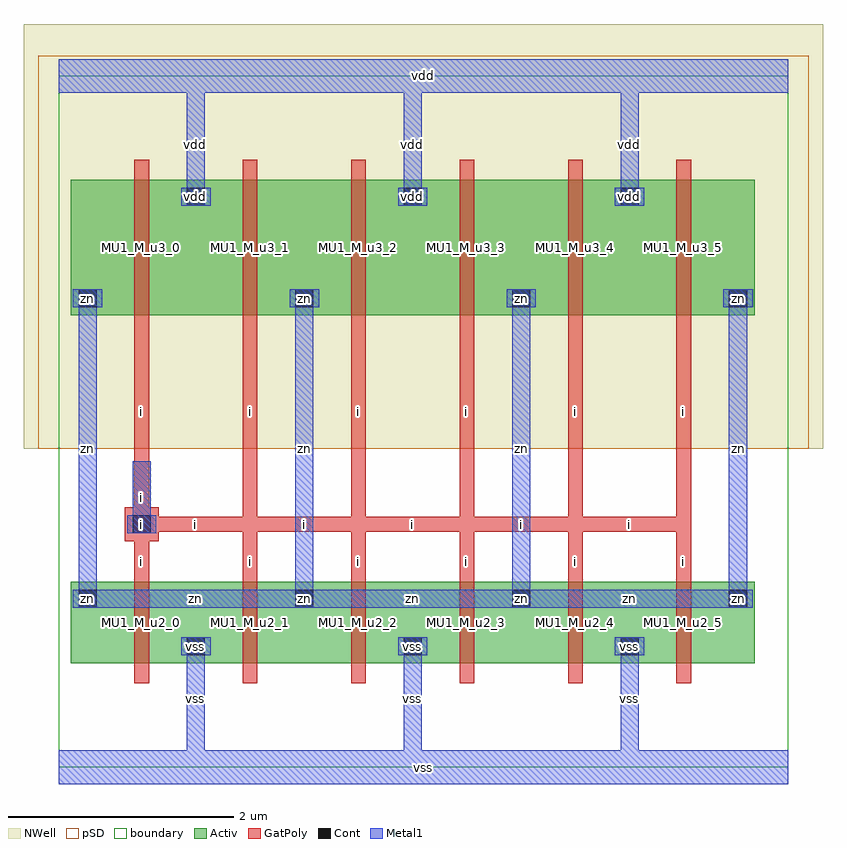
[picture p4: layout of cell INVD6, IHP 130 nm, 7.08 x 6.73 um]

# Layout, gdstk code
import gdstk
lib = gdstk.Library(unit=1e-6, precision=1e-09)
def R(c, l, rs):  # rectangles x0, y0, x1, y1
    for r in rs: c.add(gdstk.rectangle(r[:2], r[2:], *l))
def A(c, l, x, y, w, h, nx, ny, dx, dy):  # array of equal rectangles
    R(c, l, [(x+i*dx, y+j*dy, x+i*dx+w, y+j*dy+h) for i in range(nx) for j in range(ny)])
Activ = (1, 0)
GatPoly = (5, 0)
Cont = (6, 0)
Metal1 = (8, 0)
pSD = (14, 0)
NWell = (31, 0)
TEXT = (63, 0)
boundary = (189, 4)

invd6 = lib.new_cell('INVD6')
A(invd6, Activ, 0.105, 0.92, 1.26, 0.72, 6, 1, 0.96, 0)
A(invd6, Activ, 1.065, 0.92, 0.3, 0.3, 3, 2, 1.92, 3.98)
A(invd6, Activ, 0.105, 1.34, 0.3, 0.3, 4, 2, 1.92, 2.66)
A(invd6, Activ, 0.105, 4, 1.26, 1.2, 6, 1, 0.96, 0)
A(invd6, GatPoly, 0.67, 0.74, 0.13, 1.08, 6, 1, 0.96, 0)
A(invd6, GatPoly, 0.67, 1.425, 0.13, 0.79, 6, 1, 0.96, 0)
A(invd6, GatPoly, 0.67, 2.085, 1.09, 0.13, 5, 1, 0.96, 0)
A(invd6, GatPoly, 0.67, 2.085, 0.13, 2.13, 6, 1, 0.96, 0)
A(invd6, GatPoly, 0.67, 3.82, 0.13, 1.56, 6, 1, 0.96, 0)
R(invd6, GatPoly, [(0.585,2,0.885,2.3)])
A(invd6, Cont, 1.135, 0.99, 0.16, 0.16, 3, 2, 1.92, 3.98)
A(invd6, Cont, 0.175, 1.41, 0.16, 0.16, 4, 2, 1.92, 2.66)
R(invd6, Cont, [(0.655,2.07,0.815,2.23)])
A(invd6, Metal1, 1.135, 0.07, 0.16, 1.08, 3, 2, 1.92, 4.9)
A(invd6, Metal1, 1.085, 0.99, 0.26, 0.16, 3, 2, 1.92, 3.98)
A(invd6, Metal1, 0.125, 1.41, 0.26, 0.16, 4, 2, 1.92, 2.66)
A(invd6, Metal1, 0.175, 1.41, 2.08, 0.16, 3, 1, 1.92, 0)
A(invd6, Metal1, 0.175, 1.41, 0.16, 2.82, 4, 1, 1.92, 0)
R(invd6, Metal1, [(0,-0.15,6.46,0.15), (0.605,2.07,0.865,2.23), (0.655,2.07,0.815,2.71), (0,5.97,6.46,6.27)])
R(invd6, pSD, [(-0.18,2.82,6.64,5.94), (-0.18,5.94,6.64,6.3)])
R(invd6, NWell, [(-0.31,2.82,6.77,6.58)])
R(invd6, boundary, [(0,0,6.46,6.12)])
invd6.add(gdstk.FlexPath([(0.105,0.41),(6.165,0.41)], 0, ends="flush", simple_path=True, layer=63, datatype=0))  # TEXT
invd6.add(gdstk.FlexPath([(0.105,1.07),(6.165,1.07)], 0, ends="flush", simple_path=True, layer=63, datatype=0))  # TEXT
invd6.add(gdstk.FlexPath([(0.105,1.49),(6.165,1.49)], 0, ends="flush", simple_path=True, layer=63, datatype=0))  # TEXT
invd6.add(gdstk.FlexPath([(0.105,2.15),(6.165,2.15)], 0, ends="flush", simple_path=True, layer=63, datatype=0))  # TEXT
invd6.add(gdstk.FlexPath([(0.105,2.63),(6.165,2.63)], 0, ends="flush", simple_path=True, layer=63, datatype=0))  # TEXT
invd6.add(gdstk.FlexPath([(0.105,3.11),(6.165,3.11)], 0, ends="flush", simple_path=True, layer=63, datatype=0))  # TEXT
invd6.add(gdstk.FlexPath([(0.105,4.15),(6.165,4.15)], 0, ends="flush", simple_path=True, layer=63, datatype=0))  # TEXT
invd6.add(gdstk.FlexPath([(0.105,4.71),(6.165,4.71)], 0, ends="flush", simple_path=True, layer=63, datatype=0))  # TEXT
invd6.add(gdstk.FlexPath([(0.105,5.05),(6.165,5.05)], 0, ends="flush", simple_path=True, layer=63, datatype=0))  # TEXT
invd6.add(gdstk.FlexPath([(0.105,5.71),(6.165,5.71)], 0, ends="flush", simple_path=True, layer=63, datatype=0))  # TEXT
invd6.add(gdstk.FlexPath([(0.255,0.07),(0.255,6.05)], 0, ends="flush", simple_path=True, layer=63, datatype=0))  # TEXT
invd6.add(gdstk.FlexPath([(0.735,0.07),(0.735,6.05)], 0, ends="flush", simple_path=True, layer=63, datatype=0))  # TEXT
invd6.add(gdstk.FlexPath([(1.215,0.07),(1.215,6.05)], 0, ends="flush", simple_path=True, layer=63, datatype=0))  # TEXT
invd6.add(gdstk.FlexPath([(1.695,0.07),(1.695,6.05)], 0, ends="flush", simple_path=True, layer=63, datatype=0))  # TEXT
invd6.add(gdstk.FlexPath([(2.175,0.07),(2.175,6.05)], 0, ends="flush", simple_path=True, layer=63, datatype=0))  # TEXT
invd6.add(gdstk.FlexPath([(2.655,0.07),(2.655,6.05)], 0, ends="flush", simple_path=True, layer=63, datatype=0))  # TEXT
invd6.add(gdstk.FlexPath([(3.135,0.07),(3.135,6.05)], 0, ends="flush", simple_path=True, layer=63, datatype=0))  # TEXT
invd6.add(gdstk.FlexPath([(3.615,0.07),(3.615,6.05)], 0, ends="flush", simple_path=True, layer=63, datatype=0))  # TEXT
invd6.add(gdstk.FlexPath([(4.095,0.07),(4.095,6.05)], 0, ends="flush", simple_path=True, layer=63, datatype=0))  # TEXT
invd6.add(gdstk.FlexPath([(4.575,0.07),(4.575,6.05)], 0, ends="flush", simple_path=True, layer=63, datatype=0))  # TEXT
invd6.add(gdstk.FlexPath([(5.055,0.07),(5.055,6.05)], 0, ends="flush", simple_path=True, layer=63, datatype=0))  # TEXT
invd6.add(gdstk.FlexPath([(5.535,0.07),(5.535,6.05)], 0, ends="flush", simple_path=True, layer=63, datatype=0))  # TEXT
invd6.add(gdstk.FlexPath([(6.015,0.07),(6.015,6.05)], 0, ends="flush", simple_path=True, layer=63, datatype=0))  # TEXT
invd6.add(gdstk.Label('zn', (0.255,1.49), layer=6, texttype=0))
invd6.add(gdstk.Label('zn', (2.175,1.49), layer=6, texttype=0))
invd6.add(gdstk.Label('zn', (4.095,1.49), layer=6, texttype=0))
invd6.add(gdstk.Label('zn', (6.015,1.49), layer=6, texttype=0))
invd6.add(gdstk.Label('zn', (0.255,4.15), layer=6, texttype=0))
invd6.add(gdstk.Label('zn', (2.175,4.15), layer=6, texttype=0))
invd6.add(gdstk.Label('zn', (4.095,4.15), layer=6, texttype=0))
invd6.add(gdstk.Label('zn', (6.015,4.15), layer=6, texttype=0))
invd6.add(gdstk.Label('i', (0.735,2.15), layer=6, texttype=0))
invd6.add(gdstk.Label('vss', (1.215,1.07), layer=6, texttype=0))
invd6.add(gdstk.Label('vss', (3.135,1.07), layer=6, texttype=0))
invd6.add(gdstk.Label('vss', (5.055,1.07), layer=6, texttype=0))
invd6.add(gdstk.Label('vdd', (1.215,5.05), layer=6, texttype=0))
invd6.add(gdstk.Label('vdd', (3.135,5.05), layer=6, texttype=0))
invd6.add(gdstk.Label('vdd', (5.055,5.05), layer=6, texttype=0))
invd6.add(gdstk.Label('vss', (1.215,1.07), layer=8, texttype=0))
invd6.add(gdstk.Label('vss', (1.215,0.61), layer=8, texttype=0))
invd6.add(gdstk.Label('vss', (3.135,1.07), layer=8, texttype=0))
invd6.add(gdstk.Label('vss', (3.135,0.61), layer=8, texttype=0))
invd6.add(gdstk.Label('vss', (5.055,1.07), layer=8, texttype=0))
invd6.add(gdstk.Label('vss', (5.055,0.61), layer=8, texttype=0))
invd6.add(gdstk.Label('vdd', (1.215,5.05), layer=8, texttype=0))
invd6.add(gdstk.Label('vdd', (1.215,5.51), layer=8, texttype=0))
invd6.add(gdstk.Label('vdd', (3.135,5.05), layer=8, texttype=0))
invd6.add(gdstk.Label('vdd', (3.135,5.51), layer=8, texttype=0))
invd6.add(gdstk.Label('vdd', (5.055,5.05), layer=8, texttype=0))
invd6.add(gdstk.Label('vdd', (5.055,5.51), layer=8, texttype=0))
invd6.add(gdstk.Label('zn', (0.255,1.49), layer=8, texttype=2))
invd6.add(gdstk.Label('zn', (2.175,1.49), layer=8, texttype=2))
invd6.add(gdstk.Label('zn', (4.095,1.49), layer=8, texttype=2))
invd6.add(gdstk.Label('zn', (6.015,1.49), layer=8, texttype=2))
invd6.add(gdstk.Label('zn', (0.255,4.15), layer=8, texttype=2))
invd6.add(gdstk.Label('zn', (2.175,4.15), layer=8, texttype=2))
invd6.add(gdstk.Label('zn', (4.095,4.15), layer=8, texttype=2))
invd6.add(gdstk.Label('zn', (6.015,4.15), layer=8, texttype=2))
invd6.add(gdstk.Label('zn', (1.215,1.49), layer=8, texttype=2))
invd6.add(gdstk.Label('zn', (3.135,1.49), layer=8, texttype=2))
invd6.add(gdstk.Label('zn', (5.055,1.49), layer=8, texttype=2))
invd6.add(gdstk.Label('zn', (0.255,2.82), layer=8, texttype=2))
invd6.add(gdstk.Label('zn', (2.175,2.82), layer=8, texttype=2))
invd6.add(gdstk.Label('zn', (4.095,2.82), layer=8, texttype=2))
invd6.add(gdstk.Label('zn', (6.015,2.82), layer=8, texttype=2))
invd6.add(gdstk.Label('i', (0.735,2.15), layer=8, texttype=2))
invd6.add(gdstk.Label('i', (0.735,2.39), layer=8, texttype=2))
invd6.add(gdstk.Label('vss', (3.23,0), layer=8, texttype=2))
invd6.add(gdstk.Label('vdd', (3.23,6.12), layer=8, texttype=2))
invd6.add(gdstk.Label('zn', (0.255,1.49), layer=8, texttype=2))
invd6.add(gdstk.Label('zn', (2.175,1.49), layer=8, texttype=2))
invd6.add(gdstk.Label('zn', (4.095,1.49), layer=8, texttype=2))
invd6.add(gdstk.Label('zn', (6.015,1.49), layer=8, texttype=2))
invd6.add(gdstk.Label('zn', (0.255,4.15), layer=8, texttype=2))
invd6.add(gdstk.Label('zn', (2.175,4.15), layer=8, texttype=2))
invd6.add(gdstk.Label('zn', (4.095,4.15), layer=8, texttype=2))
invd6.add(gdstk.Label('zn', (6.015,4.15), layer=8, texttype=2))
invd6.add(gdstk.Label('zn', (1.215,1.49), layer=8, texttype=2))
invd6.add(gdstk.Label('zn', (3.135,1.49), layer=8, texttype=2))
invd6.add(gdstk.Label('zn', (5.055,1.49), layer=8, texttype=2))
invd6.add(gdstk.Label('zn', (0.255,2.82), layer=8, texttype=2))
invd6.add(gdstk.Label('zn', (2.175,2.82), layer=8, texttype=2))
invd6.add(gdstk.Label('zn', (4.095,2.82), layer=8, texttype=2))
invd6.add(gdstk.Label('zn', (6.015,2.82), layer=8, texttype=2))
invd6.add(gdstk.Label('i', (0.735,2.15), layer=8, texttype=2))
invd6.add(gdstk.Label('i', (0.735,2.39), layer=8, texttype=2))
invd6.add(gdstk.Label('vss', (3.23,0), layer=8, texttype=2))
invd6.add(gdstk.Label('vdd', (3.23,6.12), layer=8, texttype=2))
invd6.add(gdstk.Label('MU1_M_u2_0', (0.735,1.28), layer=1, texttype=0))
invd6.add(gdstk.Label('MU1_M_u2_1', (1.695,1.28), layer=1, texttype=0))
invd6.add(gdstk.Label('MU1_M_u2_2', (2.655,1.28), layer=1, texttype=0))
invd6.add(gdstk.Label('MU1_M_u2_3', (3.615,1.28), layer=1, texttype=0))
invd6.add(gdstk.Label('MU1_M_u2_4', (4.575,1.28), layer=1, texttype=0))
invd6.add(gdstk.Label('MU1_M_u2_5', (5.535,1.28), layer=1, texttype=0))
invd6.add(gdstk.Label('MU1_M_u3_0', (0.735,4.6), layer=1, texttype=0))
invd6.add(gdstk.Label('MU1_M_u3_1', (1.695,4.6), layer=1, texttype=0))
invd6.add(gdstk.Label('MU1_M_u3_2', (2.655,4.6), layer=1, texttype=0))
invd6.add(gdstk.Label('MU1_M_u3_3', (3.615,4.6), layer=1, texttype=0))
invd6.add(gdstk.Label('MU1_M_u3_4', (4.575,4.6), layer=1, texttype=0))
invd6.add(gdstk.Label('MU1_M_u3_5', (5.535,4.6), layer=1, texttype=0))
invd6.add(gdstk.Label('zn', (0.255,1.49), layer=1, texttype=0))
invd6.add(gdstk.Label('zn', (2.175,1.49), layer=1, texttype=0))
invd6.add(gdstk.Label('zn', (4.095,1.49), layer=1, texttype=0))
invd6.add(gdstk.Label('zn', (6.015,1.49), layer=1, texttype=0))
invd6.add(gdstk.Label('zn', (0.255,4.15), layer=1, texttype=0))
invd6.add(gdstk.Label('zn', (2.175,4.15), layer=1, texttype=0))
invd6.add(gdstk.Label('zn', (4.095,4.15), layer=1, texttype=0))
invd6.add(gdstk.Label('zn', (6.015,4.15), layer=1, texttype=0))
invd6.add(gdstk.Label('vss', (1.215,1.07), layer=1, texttype=0))
invd6.add(gdstk.Label('vss', (3.135,1.07), layer=1, texttype=0))
invd6.add(gdstk.Label('vss', (5.055,1.07), layer=1, texttype=0))
invd6.add(gdstk.Label('vdd', (1.215,5.05), layer=1, texttype=0))
invd6.add(gdstk.Label('vdd', (3.135,5.05), layer=1, texttype=0))
invd6.add(gdstk.Label('vdd', (5.055,5.05), layer=1, texttype=0))
invd6.add(gdstk.Label('zn', (0.255,1.49), layer=8, texttype=25))
invd6.add(gdstk.Label('zn', (2.175,1.49), layer=8, texttype=25))
invd6.add(gdstk.Label('zn', (4.095,1.49), layer=8, texttype=25))
invd6.add(gdstk.Label('zn', (6.015,1.49), layer=8, texttype=25))
invd6.add(gdstk.Label('zn', (0.255,4.15), layer=8, texttype=25))
invd6.add(gdstk.Label('zn', (2.175,4.15), layer=8, texttype=25))
invd6.add(gdstk.Label('zn', (4.095,4.15), layer=8, texttype=25))
invd6.add(gdstk.Label('zn', (6.015,4.15), layer=8, texttype=25))
invd6.add(gdstk.Label('zn', (1.215,1.49), layer=8, texttype=25))
invd6.add(gdstk.Label('zn', (3.135,1.49), layer=8, texttype=25))
invd6.add(gdstk.Label('zn', (5.055,1.49), layer=8, texttype=25))
invd6.add(gdstk.Label('zn', (0.255,2.82), layer=8, texttype=25))
invd6.add(gdstk.Label('zn', (2.175,2.82), layer=8, texttype=25))
invd6.add(gdstk.Label('zn', (4.095,2.82), layer=8, texttype=25))
invd6.add(gdstk.Label('zn', (6.015,2.82), layer=8, texttype=25))
invd6.add(gdstk.Label('i', (0.735,2.15), layer=8, texttype=25))
invd6.add(gdstk.Label('i', (0.735,2.39), layer=8, texttype=25))
invd6.add(gdstk.Label('vss', (3.23,0), layer=8, texttype=25))
invd6.add(gdstk.Label('vdd', (3.23,6.12), layer=8, texttype=25))
invd6.add(gdstk.Label('i', (0.735,1.82), layer=5, texttype=0))
invd6.add(gdstk.Label('i', (1.215,2.15), layer=5, texttype=0))
invd6.add(gdstk.Label('i', (1.695,1.82), layer=5, texttype=0))
invd6.add(gdstk.Label('i', (2.175,2.15), layer=5, texttype=0))
invd6.add(gdstk.Label('i', (2.655,1.82), layer=5, texttype=0))
invd6.add(gdstk.Label('i', (3.135,2.15), layer=5, texttype=0))
invd6.add(gdstk.Label('i', (3.615,1.82), layer=5, texttype=0))
invd6.add(gdstk.Label('i', (4.095,2.15), layer=5, texttype=0))
invd6.add(gdstk.Label('i', (4.575,1.82), layer=5, texttype=0))
invd6.add(gdstk.Label('i', (5.055,2.15), layer=5, texttype=0))
invd6.add(gdstk.Label('i', (5.535,1.82), layer=5, texttype=0))
invd6.add(gdstk.Label('i', (0.735,3.15), layer=5, texttype=0))
invd6.add(gdstk.Label('i', (1.695,3.15), layer=5, texttype=0))
invd6.add(gdstk.Label('i', (2.655,3.15), layer=5, texttype=0))
invd6.add(gdstk.Label('i', (3.615,3.15), layer=5, texttype=0))
invd6.add(gdstk.Label('i', (4.575,3.15), layer=5, texttype=0))
invd6.add(gdstk.Label('i', (5.535,3.15), layer=5, texttype=0))
invd6.add(gdstk.Label('i', (0.735,2.15), layer=5, texttype=0))

lib.write_gds('INVD6.gds')
